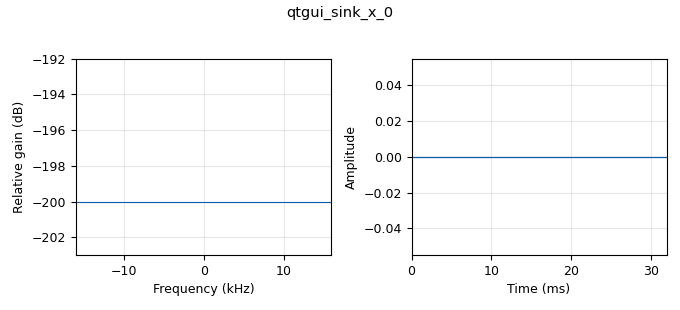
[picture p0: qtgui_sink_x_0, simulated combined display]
options:
  parameters:
    author: Rachel
    generate_options: qt_gui
    id: basicGPIOFlowgraph
    output_language: python
    realtime_scheduling: '1'
    title: Basic GPIO
  states: {}

blocks:
- name: samp_rate
  id: variable
  parameters:
    value: '32000'
  states: {}
- name: analog_sig_source_x_0
  id: analog_sig_source_x
  parameters:
    amp: '1'
    freq: '1'
    offset: '0'
    phase: '0'
    samp_rate: samp_rate
    type: int
    waveform: analog.GR_SQR_WAVE
  states: {}
- name: blocks_int_to_float_0
  id: blocks_int_to_float
  parameters:
    scale: '1'
  states: {}
- name: qtgui_sink_x_0
  id: qtgui_sink_x
  parameters:
    bw: samp_rate
    fc: '0'
    fftsize: '1024'
    type: float
  states: {}
- name: robotics_gpo_0
  id: robotics_gpo
  parameters:
    gpio_pin: '11'
    platform: pi3
  states: {}

connections:
- [analog_sig_source_x_0, '0', blocks_int_to_float_0, '0']
- [analog_sig_source_x_0, '0', robotics_gpo_0, '0']
- [blocks_int_to_float_0, '0', qtgui_sink_x_0, '0']

metadata:
  file_format: 1
  grc_version: 3.10.5.1
